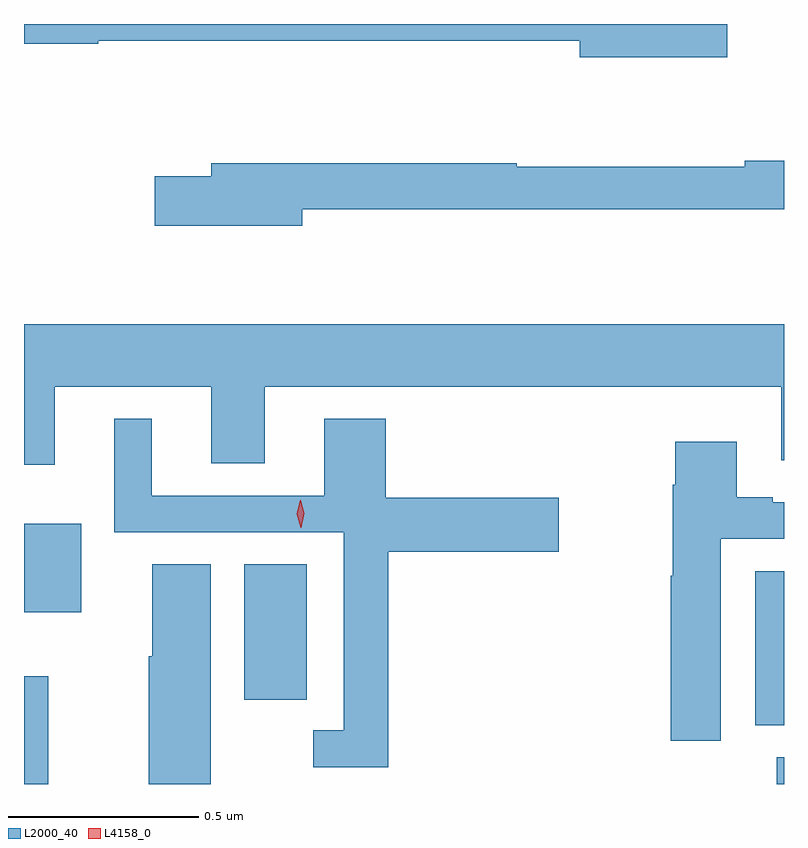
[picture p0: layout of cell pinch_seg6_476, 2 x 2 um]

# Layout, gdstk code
import gdstk
lib = gdstk.Library(unit=1e-6, precision=1e-09)
def R(c, l, rs):  # rectangles x0, y0, x1, y1
    for r in rs: c.add(gdstk.rectangle(r[:2], r[2:], *l))
def P(c, l, *ps):  # polygons
    for p in ps: c.add(gdstk.Polygon(p, *l))
L2000_40 = (2000, 40)
L4158_0 = (4158, 0)

pinch_seg6_476 = lib.new_cell('pinch_seg6_476')
R(pinch_seg6_476, L2000_40, [(771.274,919.65,771.338,919.933), (773.255,919.65,773.274,919.72), (773.198,919.805,773.274,920.21), (771.854,919.872,772.018,920.228), (771.274,920.102,771.424,920.335)])
P(pinch_seg6_476, L2000_40, [(773.125,921.65),(771.274,921.65),(771.274,921.598),(771.47,921.598),(771.47,921.606),(772.736,921.606),(772.736,921.563),(773.125,921.563)],
  [(772.006,921.162),(773.274,921.162),(773.274,921.29),(773.171,921.29),(773.171,921.275),(772.571,921.275),(772.571,921.283),(771.767,921.283),(771.767,921.249),(771.618,921.249),(771.618,921.119),(772.006,921.119)],
  [(771.355,920.696),(771.767,920.696),(771.767,920.494),(771.907,920.494),(771.907,920.696),(773.267,920.696),(773.267,920.502),(773.274,920.502),(773.274,920.86),(771.274,920.86),(771.274,920.49),(771.355,920.49)],
  [(772.232,920.261),(772.681,920.261),(772.681,920.403),(772.226,920.403),(772.226,920.611),(772.064,920.611),(772.064,920.409),(771.61,920.409),(771.61,920.611),(771.512,920.611),(771.512,920.313),(772.116,920.313),(772.116,919.791),(772.035,919.791),(772.035,919.694),(772.232,919.694)],
  [(773.107,920.295),(773.274,920.295),(773.274,920.391),(773.245,920.391),(773.245,920.404),(773.149,920.404),(773.149,920.551),(772.988,920.551),(772.988,920.438),(772.981,920.438),(772.981,920.198),(772.976,920.198),(772.976,919.764),(773.107,919.764)],
  [(771.766,920.228),(771.611,920.228),(771.611,919.986),(771.602,919.986),(771.602,919.65),(771.766,919.65)])
P(pinch_seg6_476, L4158_0, [(772.002,920.325),(772.002,920.325),(771.992,920.361),(772.001,920.397),(772.001,920.397),(772.002,920.397),(772.012,920.362),(772.003,920.325)])

lib.write_gds('pinch_seg6_476.gds')
